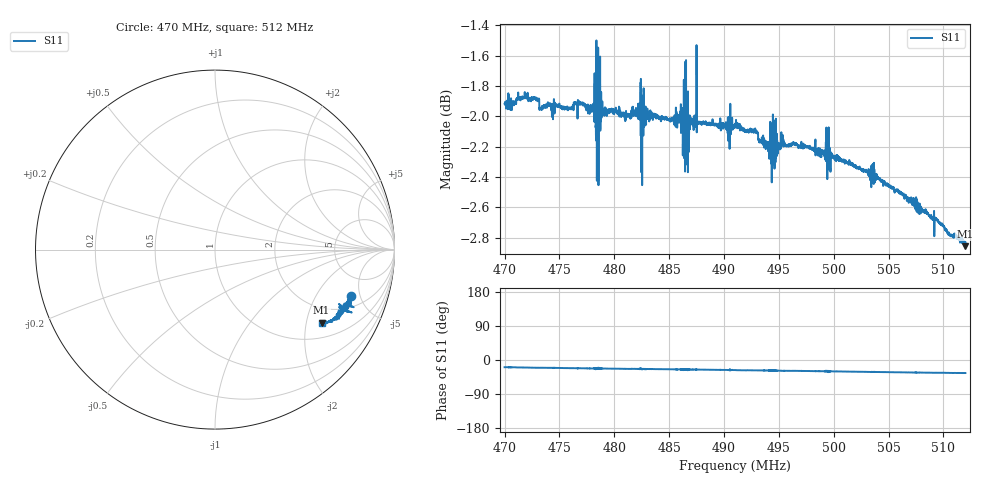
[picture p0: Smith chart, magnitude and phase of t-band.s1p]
! Calibrated averaged scanner-service zoom
# Hz S RI R 50
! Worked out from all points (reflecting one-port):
!   4001 points, 470 MHz to 512 MHz, reference 50 ohm
!   lowest |S11| = -2.9 dB at 511.9 MHz (marker M1), VSWR 6.14, Z = 73 - j123 ohm
!   phase of S11 starts at -19 deg and turns -15 deg over the sweep
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4.7e8  0.7584 -0.2607
4.7189e8  0.7578 -0.2738
4.7294e8  0.7537 -0.2825
4.733705e8  0.7483 -0.2788
4.7525e8  0.7453 -0.2886
4.76888e8  0.7452 -0.2985
4.784945e8  0.7551 -0.3224
4.78925e8  0.7337 -0.3079
4.805e8  0.7316 -0.3132
4.81172e8  0.7288 -0.3151
4.82222e8  0.7302 -0.3157
4.826525e8  0.7279 -0.3212
4.8575e8  0.7212 -0.3301
4.86254e8  0.7168 -0.3393
4.869155e8  0.718 -0.328
4.91e8  0.7054 -0.3524
4.927745e8  0.6983 -0.3606
4.93982e8  0.6886 -0.3589
4.94633e8  0.6902 -0.3378
4.9499e8  0.6822 -0.3668
4.954205e8  0.6848 -0.3719
4.9625e8  0.6831 -0.3719
4.99358e8  0.6729 -0.3846
5.015e8  0.6593 -0.3912
5.0675e8  0.6273 -0.405
5.10719e8  0.6007 -0.4077
5.11937e8  0.594 -0.4065
5.12e8  0.5953 -0.4073
